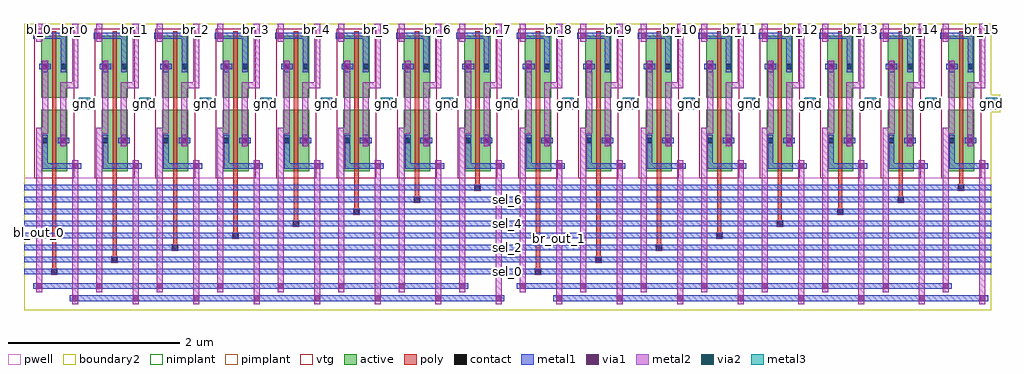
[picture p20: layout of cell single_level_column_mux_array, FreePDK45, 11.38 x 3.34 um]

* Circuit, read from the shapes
.subckt single_level_column_mux_array bl_0 bl_1 bl_10 bl_11 bl_12 bl_13 bl_14 bl_15 bl_2 bl_3 bl_4 bl_5 bl_6 bl_7 bl_8 bl_9 bl_out_0 bl_out_1 br_0 br_1 br_10 br_11 br_12 br_13 br_14 br_15 br_2 br_3 br_4 br_5 br_6 br_7 br_8 br_9 br_out_0 br_out_1 gnd sel_0 sel_1 sel_2 sel_3 sel_4 sel_5 sel_6 sel_7
M1 br_0 sel_0 br_out_0 gnd nfet w=0.72u l=0.05u
M2 bl_0 sel_0 bl_out_0 gnd nfet w=0.72u l=0.05u
M3 br_1 sel_1 br_out_0 gnd nfet w=0.72u l=0.05u
M4 bl_1 sel_1 bl_out_0 gnd nfet w=0.72u l=0.05u
M5 br_2 sel_2 br_out_0 gnd nfet w=0.72u l=0.05u
M6 bl_2 sel_2 bl_out_0 gnd nfet w=0.72u l=0.05u
M7 br_3 sel_3 br_out_0 gnd nfet w=0.72u l=0.05u
M8 bl_3 sel_3 bl_out_0 gnd nfet w=0.72u l=0.05u
M9 br_4 sel_4 br_out_0 gnd nfet w=0.72u l=0.05u
M10 bl_4 sel_4 bl_out_0 gnd nfet w=0.72u l=0.05u
M11 br_5 sel_5 br_out_0 gnd nfet w=0.72u l=0.05u
M12 bl_5 sel_5 bl_out_0 gnd nfet w=0.72u l=0.05u
M13 br_6 sel_6 br_out_0 gnd nfet w=0.72u l=0.05u
M14 bl_6 sel_6 bl_out_0 gnd nfet w=0.72u l=0.05u
M15 br_7 sel_7 br_out_0 gnd nfet w=0.72u l=0.05u
M16 bl_7 sel_7 bl_out_0 gnd nfet w=0.72u l=0.05u
M17 br_8 sel_0 br_out_1 gnd nfet w=0.72u l=0.05u
M18 bl_8 sel_0 bl_out_1 gnd nfet w=0.72u l=0.05u
M19 br_9 sel_1 br_out_1 gnd nfet w=0.72u l=0.05u
M20 bl_9 sel_1 bl_out_1 gnd nfet w=0.72u l=0.05u
M21 br_10 sel_2 br_out_1 gnd nfet w=0.72u l=0.05u
M22 bl_10 sel_2 bl_out_1 gnd nfet w=0.72u l=0.05u
M23 br_11 sel_3 br_out_1 gnd nfet w=0.72u l=0.05u
M24 bl_11 sel_3 bl_out_1 gnd nfet w=0.72u l=0.05u
M25 br_12 sel_4 br_out_1 gnd nfet w=0.72u l=0.05u
M26 bl_12 sel_4 bl_out_1 gnd nfet w=0.72u l=0.05u
M27 br_13 sel_5 br_out_1 gnd nfet w=0.72u l=0.05u
M28 bl_13 sel_5 bl_out_1 gnd nfet w=0.72u l=0.05u
M29 br_14 sel_6 br_out_1 gnd nfet w=0.72u l=0.05u
M30 bl_14 sel_6 bl_out_1 gnd nfet w=0.72u l=0.05u
M31 br_15 sel_7 br_out_1 gnd nfet w=0.72u l=0.05u
M32 bl_15 sel_7 bl_out_1 gnd nfet w=0.72u l=0.05u
.ends

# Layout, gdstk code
import gdstk
lib = gdstk.Library(unit=1e-6, precision=5e-10)
def R(c, l, rs):  # rectangles x0, y0, x1, y1
    for r in rs: c.add(gdstk.rectangle(r[:2], r[2:], *l))
def A(c, l, x, y, w, h, nx, ny, dx, dy):  # array of equal rectangles
    R(c, l, [(x+i*dx, y+j*dy, x+i*dx+w, y+j*dy+h) for i in range(nx) for j in range(ny)])
active = (1, 0)
pwell = (2, 0)
nimplant = (4, 0)
pimplant = (5, 0)
vtg = (6, 0)
poly = (9, 0)
contact = (10, 0)
metal1 = (11, 0)
via1 = (12, 0)
metal2 = (13, 0)
via2 = (14, 0)
metal3 = (15, 0)
boundary2 = (239, 0)

contact_14 = lib.new_cell('contact_14')
R(contact_14, active, [(0,0.0225,0.09,0.1125)])
R(contact_14, pwell, [(-0.055,-0.0325,0.145,0.1675)])
R(contact_14, nimplant, [(0,0.0225,0.09,0.1125)])
R(contact_14, contact, [(0.0125,0.035,0.0775,0.1)])
R(contact_14, metal1, [(0.0125,0,0.0775,0.135)])
R(contact_14, boundary2, [(-0.055,-0.0325,0.145,0.1675)])

nmos_m1_w0_720_sm1_dm1 = lib.new_cell('nmos_m1_w0_720_sm1_dm1')
R(nmos_m1_w0_720_sm1_dm1, active, [(0,0,0.305,0.72)])
R(nmos_m1_w0_720_sm1_dm1, pwell, [(-0.08,-0.08,0.385,0.8)])
R(nmos_m1_w0_720_sm1_dm1, nimplant, [(0,0,0.305,0.72)])
R(nmos_m1_w0_720_sm1_dm1, vtg, [(-0.08,-0.08,0.385,0.8)])
R(nmos_m1_w0_720_sm1_dm1, poly, [(0.1275,-0.055,0.1775,0.775), (0.1275,-0.055,0.1775,0.775)])
R(nmos_m1_w0_720_sm1_dm1, metal1, [(0.0125,0.2925,0.0775,0.4275), (0.2275,0.2925,0.2925,0.4275)])
R(nmos_m1_w0_720_sm1_dm1, boundary2, [(-0.08,-0.08,0.385,0.8)])
nmos_m1_w0_720_sm1_dm1.add(gdstk.Reference(contact_14, (0,0.2925)))
nmos_m1_w0_720_sm1_dm1.add(gdstk.Reference(contact_14, (0.215,0.2925)))
nmos_m1_w0_720_sm1_dm1.add(gdstk.Label('G', (0.1525,0.36), layer=9, texttype=0))
nmos_m1_w0_720_sm1_dm1.add(gdstk.Label('S', (0.045,0.36), layer=11, texttype=0))
nmos_m1_w0_720_sm1_dm1.add(gdstk.Label('D', (0.26,0.36), layer=11, texttype=0))

contact_6 = lib.new_cell('contact_6')
R(contact_6, metal1, [(0,0.035,0.135,0.1)])
R(contact_6, via1, [(0.035,0.035,0.1,0.1)])
R(contact_6, metal2, [(0.0325,0,0.1025,0.135)])
R(contact_6, boundary2, [(0,0,0.135,0.135)])

contact_15 = lib.new_cell('contact_15')
R(contact_15, active, [(0.0225,0,0.1125,0.09)])
R(contact_15, pwell, [(-0.0325,-0.055,0.1675,0.145)])
R(contact_15, pimplant, [(0.0225,0,0.1125,0.09)])
R(contact_15, contact, [(0.035,0.0125,0.1,0.0775)])
R(contact_15, metal1, [(0,0.0125,0.135,0.0775)])
R(contact_15, boundary2, [(-0.0325,-0.055,0.1675,0.145)])

contact_7 = lib.new_cell('contact_7')
R(contact_7, metal2, [(0.0325,0,0.1025,0.135)])
R(contact_7, via2, [(0.035,0.035,0.1,0.1)])
R(contact_7, metal3, [(0,0.0325,0.135,0.1025)])
R(contact_7, boundary2, [(0,0,0.135,0.135)])

single_level_column_mux = lib.new_cell('single_level_column_mux')
R(single_level_column_mux, pwell, [(0,0,0.705,1.8)])
R(single_level_column_mux, poly, [(0.3275,0.025,0.3775,0.08), (0.3275,0.8,0.3775,0.94)])
R(single_level_column_mux, metal1, [(0.2125,0.1075,0.2775,0.1725), (0.245,0.1075,0.6,0.1725), (0.2125,0.14,0.2775,0.44), (0.4275,1.3,0.4925,1.66), (0.14,1.6275,0.46,1.6925), (0.4275,1.6275,0.4925,1.6925)])
A(single_level_column_mux, metal2, 0.14, 0.515, 0.07, 0.07, 3, 1, 0.035, 0)
R(single_level_column_mux, metal2, [(0.14,0,0.21,0.14), (0.565,0,0.635,0.14), (0.14,0.14,0.21,0.55), (0.425,0.44,0.495,1.085), (0.21,0.55,0.28,1.3), (0.425,1.05,0.495,1.12), (0.46,1.05,0.6,1.12), (0.565,1.05,0.635,1.12), (0.565,1.085,0.635,1.66), (0.14,1.66,0.21,1.8), (0.565,1.66,0.635,1.8)])
R(single_level_column_mux, metal3, [(0.6375,0.8025,0.7725,0.9375)])
R(single_level_column_mux, boundary2, [(0,0,0.705,1.8)])
single_level_column_mux.add(gdstk.Reference(nmos_m1_w0_720_sm1_dm1, (0.2,0.08)))
single_level_column_mux.add(gdstk.Reference(nmos_m1_w0_720_sm1_dm1, (0.2,0.94)))
single_level_column_mux.add(gdstk.Reference(contact_6, (0.1075,1.5925)))
single_level_column_mux.add(gdstk.Reference(contact_6, (0.5325,0.0725)))
single_level_column_mux.add(gdstk.Reference(contact_6, (0.1775,1.2325)))
single_level_column_mux.add(gdstk.Reference(contact_6, (0.3925,0.3725)))
single_level_column_mux.add(gdstk.Reference(contact_15, (0.6375,0.825)))
single_level_column_mux.add(gdstk.Reference(contact_6, (0.6375,0.8025)))
single_level_column_mux.add(gdstk.Reference(contact_6, (0.6375,0.8025)))
single_level_column_mux.add(gdstk.Reference(contact_7, (0.6375,0.8025)))
single_level_column_mux.add(gdstk.Label('sel', (0.3525,0.0525), layer=9, texttype=0))
single_level_column_mux.add(gdstk.Label('bl', (0.175,1.73), layer=13, texttype=0))
single_level_column_mux.add(gdstk.Label('br', (0.6,1.73), layer=13, texttype=0))
single_level_column_mux.add(gdstk.Label('bl_out', (0.175,0.07), layer=13, texttype=0))
single_level_column_mux.add(gdstk.Label('br_out', (0.6,0.07), layer=13, texttype=0))
single_level_column_mux.add(gdstk.Label('gnd', (0.705,0.87), layer=15, texttype=0))

contact_16 = lib.new_cell('contact_16')
R(contact_16, poly, [(0.03,0,0.105,0.075)])
R(contact_16, contact, [(0.035,0.005,0.1,0.07)])
R(contact_16, metal1, [(0,0.005,0.135,0.07)])
R(contact_16, boundary2, [(0,0,0.135,0.075)])

contact_17 = lib.new_cell('contact_17')
R(contact_17, metal1, [(0,0.035,0.135,0.1)])
R(contact_17, via1, [(0.035,0.035,0.1,0.1)])
R(contact_17, metal2, [(0.0325,0,0.1025,0.135)])
R(contact_17, boundary2, [(0,0,0.135,0.135)])

single_level_column_mux_ = lib.new_cell('single_level_column_mux_array')
R(single_level_column_mux_, pwell, [(0,1.54,11.28,3.34)])
R(single_level_column_mux_, poly, [(0.3275,0.4525,0.3775,1.565), (5.9675,0.4525,6.0175,1.565), (1.0325,0.5925,1.0825,1.565), (6.6725,0.5925,6.7225,1.565), (1.7375,0.7325,1.7875,1.565), (7.3775,0.7325,7.4275,1.565), (2.4425,0.8725,2.4925,1.565), (8.0825,0.8725,8.1325,1.565), (3.1475,1.0125,3.1975,1.565), (8.7875,1.0125,8.8375,1.565), (3.8525,1.1525,3.9025,1.565), (9.4925,1.1525,9.5425,1.565), (4.5575,1.2925,4.6075,1.565), (10.1975,1.2925,10.2475,1.565), (5.2625,1.4325,5.3125,1.565), (10.9025,1.4325,10.9525,1.565)])
A(single_level_column_mux_, metal1, 0, 0.42, 11.28, 0.065, 1, 8, 0, 0.14)
R(single_level_column_mux_, metal1, [(0.6,0.1075,5.535,0.1725), (6.24,0.1075,11.175,0.1725), (0.175,0.2475,5.11,0.3125), (5.815,0.2475,10.75,0.3125)])
A(single_level_column_mux_, metal2, 0.565, 0.14, 0.07, 1.4, 16, 1, 0.705, 0)
A(single_level_column_mux_, metal2, 0.14, 0.28, 0.07, 1.26, 16, 1, 0.705, 0)
R(single_level_column_mux_, metal2, [(0.14,3.2,0.21,3.34), (0.565,3.2,0.635,3.34), (0.845,3.2,0.915,3.34), (1.27,3.2,1.34,3.34), (1.55,3.2,1.62,3.34), (1.975,3.2,2.045,3.34), (2.255,3.2,2.325,3.34), (2.68,3.2,2.75,3.34), (2.96,3.2,3.03,3.34), (3.385,3.2,3.455,3.34), (3.665,3.2,3.735,3.34), (4.09,3.2,4.16,3.34), (4.37,3.2,4.44,3.34), (4.795,3.2,4.865,3.34), (5.075,3.2,5.145,3.34), (5.5,3.2,5.57,3.34), (5.78,3.2,5.85,3.34), (6.205,3.2,6.275,3.34), (6.485,3.2,6.555,3.34), (6.91,3.2,6.98,3.34), (7.19,3.2,7.26,3.34), (7.615,3.2,7.685,3.34), (7.895,3.2,7.965,3.34), (8.32,3.2,8.39,3.34), (8.6,3.2,8.67,3.34), (9.025,3.2,9.095,3.34), (9.305,3.2,9.375,3.34), (9.73,3.2,9.8,3.34), (10.01,3.2,10.08,3.34), (10.435,3.2,10.505,3.34), (10.715,3.2,10.785,3.34), (11.14,3.2,11.21,3.34)])
A(single_level_column_mux_, metal3, 0.6375, 2.3425, 0.135, 0.135, 16, 1, 0.705, 0)
R(single_level_column_mux_, boundary2, [(0,0,11.28,3.34)])
single_level_column_mux_.add(gdstk.Reference(single_level_column_mux, (0,1.54)))
single_level_column_mux_.add(gdstk.Reference(single_level_column_mux, (0.705,1.54)))
single_level_column_mux_.add(gdstk.Reference(single_level_column_mux, (1.41,1.54)))
single_level_column_mux_.add(gdstk.Reference(single_level_column_mux, (2.115,1.54)))
single_level_column_mux_.add(gdstk.Reference(single_level_column_mux, (2.82,1.54)))
single_level_column_mux_.add(gdstk.Reference(single_level_column_mux, (3.525,1.54)))
single_level_column_mux_.add(gdstk.Reference(single_level_column_mux, (4.23,1.54)))
single_level_column_mux_.add(gdstk.Reference(single_level_column_mux, (4.935,1.54)))
single_level_column_mux_.add(gdstk.Reference(single_level_column_mux, (5.64,1.54)))
single_level_column_mux_.add(gdstk.Reference(single_level_column_mux, (6.345,1.54)))
single_level_column_mux_.add(gdstk.Reference(single_level_column_mux, (7.05,1.54)))
single_level_column_mux_.add(gdstk.Reference(single_level_column_mux, (7.755,1.54)))
single_level_column_mux_.add(gdstk.Reference(single_level_column_mux, (8.46,1.54)))
single_level_column_mux_.add(gdstk.Reference(single_level_column_mux, (9.165,1.54)))
single_level_column_mux_.add(gdstk.Reference(single_level_column_mux, (9.87,1.54)))
single_level_column_mux_.add(gdstk.Reference(single_level_column_mux, (10.575,1.54)))
single_level_column_mux_.add(gdstk.Reference(contact_16, (0.285,0.415)))
single_level_column_mux_.add(gdstk.Reference(contact_16, (0.99,0.555)))
single_level_column_mux_.add(gdstk.Reference(contact_16, (1.695,0.695)))
single_level_column_mux_.add(gdstk.Reference(contact_16, (2.4,0.835)))
single_level_column_mux_.add(gdstk.Reference(contact_16, (3.105,0.975)))
single_level_column_mux_.add(gdstk.Reference(contact_16, (3.81,1.115)))
single_level_column_mux_.add(gdstk.Reference(contact_16, (4.515,1.255)))
single_level_column_mux_.add(gdstk.Reference(contact_16, (5.22,1.395)))
single_level_column_mux_.add(gdstk.Reference(contact_16, (5.925,0.415)))
single_level_column_mux_.add(gdstk.Reference(contact_16, (6.63,0.555)))
single_level_column_mux_.add(gdstk.Reference(contact_16, (7.335,0.695)))
single_level_column_mux_.add(gdstk.Reference(contact_16, (8.04,0.835)))
single_level_column_mux_.add(gdstk.Reference(contact_16, (8.745,0.975)))
single_level_column_mux_.add(gdstk.Reference(contact_16, (9.45,1.115)))
single_level_column_mux_.add(gdstk.Reference(contact_16, (10.155,1.255)))
single_level_column_mux_.add(gdstk.Reference(contact_16, (10.86,1.395)))
single_level_column_mux_.add(gdstk.Reference(contact_17, (0.1075,0.2125)))
single_level_column_mux_.add(gdstk.Reference(contact_17, (0.5325,0.0725)))
single_level_column_mux_.add(gdstk.Reference(contact_17, (0.8125,0.2125)))
single_level_column_mux_.add(gdstk.Reference(contact_17, (1.2375,0.0725)))
single_level_column_mux_.add(gdstk.Reference(contact_17, (1.5175,0.2125)))
single_level_column_mux_.add(gdstk.Reference(contact_17, (1.9425,0.0725)))
single_level_column_mux_.add(gdstk.Reference(contact_17, (2.2225,0.2125)))
single_level_column_mux_.add(gdstk.Reference(contact_17, (2.6475,0.0725)))
single_level_column_mux_.add(gdstk.Reference(contact_17, (2.9275,0.2125)))
single_level_column_mux_.add(gdstk.Reference(contact_17, (3.3525,0.0725)))
single_level_column_mux_.add(gdstk.Reference(contact_17, (3.6325,0.2125)))
single_level_column_mux_.add(gdstk.Reference(contact_17, (4.0575,0.0725)))
single_level_column_mux_.add(gdstk.Reference(contact_17, (4.3375,0.2125)))
single_level_column_mux_.add(gdstk.Reference(contact_17, (4.7625,0.0725)))
single_level_column_mux_.add(gdstk.Reference(contact_17, (5.0425,0.2125)))
single_level_column_mux_.add(gdstk.Reference(contact_17, (5.4675,0.0725)))
single_level_column_mux_.add(gdstk.Reference(contact_17, (5.7475,0.2125)))
single_level_column_mux_.add(gdstk.Reference(contact_17, (6.1725,0.0725)))
single_level_column_mux_.add(gdstk.Reference(contact_17, (6.4525,0.2125)))
single_level_column_mux_.add(gdstk.Reference(contact_17, (6.8775,0.0725)))
single_level_column_mux_.add(gdstk.Reference(contact_17, (7.1575,0.2125)))
single_level_column_mux_.add(gdstk.Reference(contact_17, (7.5825,0.0725)))
single_level_column_mux_.add(gdstk.Reference(contact_17, (7.8625,0.2125)))
single_level_column_mux_.add(gdstk.Reference(contact_17, (8.2875,0.0725)))
single_level_column_mux_.add(gdstk.Reference(contact_17, (8.5675,0.2125)))
single_level_column_mux_.add(gdstk.Reference(contact_17, (8.9925,0.0725)))
single_level_column_mux_.add(gdstk.Reference(contact_17, (9.2725,0.2125)))
single_level_column_mux_.add(gdstk.Reference(contact_17, (9.6975,0.0725)))
single_level_column_mux_.add(gdstk.Reference(contact_17, (9.9775,0.2125)))
single_level_column_mux_.add(gdstk.Reference(contact_17, (10.4025,0.0725)))
single_level_column_mux_.add(gdstk.Reference(contact_17, (10.6825,0.2125)))
single_level_column_mux_.add(gdstk.Reference(contact_17, (11.1075,0.0725)))
single_level_column_mux_.add(gdstk.Label('sel_0', (5.64,0.4525), layer=11, texttype=0))
single_level_column_mux_.add(gdstk.Label('sel_1', (5.64,0.5925), layer=11, texttype=0))
single_level_column_mux_.add(gdstk.Label('sel_2', (5.64,0.7325), layer=11, texttype=0))
single_level_column_mux_.add(gdstk.Label('sel_3', (5.64,0.8725), layer=11, texttype=0))
single_level_column_mux_.add(gdstk.Label('sel_4', (5.64,1.0125), layer=11, texttype=0))
single_level_column_mux_.add(gdstk.Label('sel_5', (5.64,1.1525), layer=11, texttype=0))
single_level_column_mux_.add(gdstk.Label('sel_6', (5.64,1.2925), layer=11, texttype=0))
single_level_column_mux_.add(gdstk.Label('sel_7', (5.64,1.4325), layer=11, texttype=0))
single_level_column_mux_.add(gdstk.Label('bl_out_0', (0.175,0.91), layer=13, texttype=0))
single_level_column_mux_.add(gdstk.Label('br_out_0', (0.6,0.84), layer=13, texttype=0))
single_level_column_mux_.add(gdstk.Label('bl_out_1', (5.815,0.91), layer=13, texttype=0))
single_level_column_mux_.add(gdstk.Label('br_out_1', (6.24,0.84), layer=13, texttype=0))
single_level_column_mux_.add(gdstk.Label('bl_0', (0.175,3.27), layer=13, texttype=0))
single_level_column_mux_.add(gdstk.Label('br_0', (0.6,3.27), layer=13, texttype=0))
single_level_column_mux_.add(gdstk.Label('bl_1', (0.88,3.27), layer=13, texttype=0))
single_level_column_mux_.add(gdstk.Label('br_1', (1.305,3.27), layer=13, texttype=0))
single_level_column_mux_.add(gdstk.Label('bl_2', (1.585,3.27), layer=13, texttype=0))
single_level_column_mux_.add(gdstk.Label('br_2', (2.01,3.27), layer=13, texttype=0))
single_level_column_mux_.add(gdstk.Label('bl_3', (2.29,3.27), layer=13, texttype=0))
single_level_column_mux_.add(gdstk.Label('br_3', (2.715,3.27), layer=13, texttype=0))
single_level_column_mux_.add(gdstk.Label('bl_4', (2.995,3.27), layer=13, texttype=0))
single_level_column_mux_.add(gdstk.Label('br_4', (3.42,3.27), layer=13, texttype=0))
single_level_column_mux_.add(gdstk.Label('bl_5', (3.7,3.27), layer=13, texttype=0))
single_level_column_mux_.add(gdstk.Label('br_5', (4.125,3.27), layer=13, texttype=0))
single_level_column_mux_.add(gdstk.Label('bl_6', (4.405,3.27), layer=13, texttype=0))
single_level_column_mux_.add(gdstk.Label('br_6', (4.83,3.27), layer=13, texttype=0))
single_level_column_mux_.add(gdstk.Label('bl_7', (5.11,3.27), layer=13, texttype=0))
single_level_column_mux_.add(gdstk.Label('br_7', (5.535,3.27), layer=13, texttype=0))
single_level_column_mux_.add(gdstk.Label('bl_8', (5.815,3.27), layer=13, texttype=0))
single_level_column_mux_.add(gdstk.Label('br_8', (6.24,3.27), layer=13, texttype=0))
single_level_column_mux_.add(gdstk.Label('bl_9', (6.52,3.27), layer=13, texttype=0))
single_level_column_mux_.add(gdstk.Label('br_9', (6.945,3.27), layer=13, texttype=0))
single_level_column_mux_.add(gdstk.Label('bl_10', (7.225,3.27), layer=13, texttype=0))
single_level_column_mux_.add(gdstk.Label('br_10', (7.65,3.27), layer=13, texttype=0))
single_level_column_mux_.add(gdstk.Label('bl_11', (7.93,3.27), layer=13, texttype=0))
single_level_column_mux_.add(gdstk.Label('br_11', (8.355,3.27), layer=13, texttype=0))
single_level_column_mux_.add(gdstk.Label('bl_12', (8.635,3.27), layer=13, texttype=0))
single_level_column_mux_.add(gdstk.Label('br_12', (9.06,3.27), layer=13, texttype=0))
single_level_column_mux_.add(gdstk.Label('bl_13', (9.34,3.27), layer=13, texttype=0))
single_level_column_mux_.add(gdstk.Label('br_13', (9.765,3.27), layer=13, texttype=0))
single_level_column_mux_.add(gdstk.Label('bl_14', (10.045,3.27), layer=13, texttype=0))
single_level_column_mux_.add(gdstk.Label('br_14', (10.47,3.27), layer=13, texttype=0))
single_level_column_mux_.add(gdstk.Label('bl_15', (10.75,3.27), layer=13, texttype=0))
single_level_column_mux_.add(gdstk.Label('br_15', (11.175,3.27), layer=13, texttype=0))
single_level_column_mux_.add(gdstk.Label('gnd', (6.345,2.41), layer=15, texttype=0))
single_level_column_mux_.add(gdstk.Label('gnd', (8.46,2.41), layer=15, texttype=0))
single_level_column_mux_.add(gdstk.Label('gnd', (11.28,2.41), layer=15, texttype=0))
single_level_column_mux_.add(gdstk.Label('gnd', (7.755,2.41), layer=15, texttype=0))
single_level_column_mux_.add(gdstk.Label('gnd', (5.64,2.41), layer=15, texttype=0))
single_level_column_mux_.add(gdstk.Label('gnd', (9.165,2.41), layer=15, texttype=0))
single_level_column_mux_.add(gdstk.Label('gnd', (0.705,2.41), layer=15, texttype=0))
single_level_column_mux_.add(gdstk.Label('gnd', (9.87,2.41), layer=15, texttype=0))
single_level_column_mux_.add(gdstk.Label('gnd', (10.575,2.41), layer=15, texttype=0))
single_level_column_mux_.add(gdstk.Label('gnd', (7.05,2.41), layer=15, texttype=0))
single_level_column_mux_.add(gdstk.Label('gnd', (2.82,2.41), layer=15, texttype=0))
single_level_column_mux_.add(gdstk.Label('gnd', (4.935,2.41), layer=15, texttype=0))
single_level_column_mux_.add(gdstk.Label('gnd', (2.115,2.41), layer=15, texttype=0))
single_level_column_mux_.add(gdstk.Label('gnd', (4.23,2.41), layer=15, texttype=0))
single_level_column_mux_.add(gdstk.Label('gnd', (1.41,2.41), layer=15, texttype=0))
single_level_column_mux_.add(gdstk.Label('gnd', (3.525,2.41), layer=15, texttype=0))

lib.write_gds('single_level_column_mux_array.gds')
